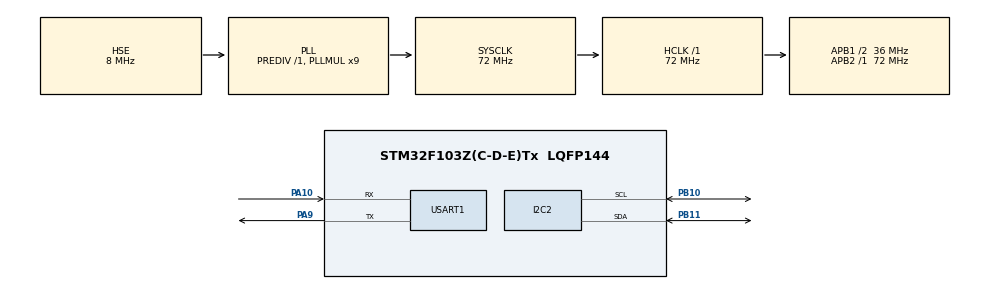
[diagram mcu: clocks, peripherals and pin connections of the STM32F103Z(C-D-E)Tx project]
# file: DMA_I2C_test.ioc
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Dma.I2C2_RX.0.Direction=DMA_PERIPH_TO_MEMORY
Dma.I2C2_RX.0.Instance=DMA1_Channel5
Dma.I2C2_RX.0.MemDataAlignment=DMA_MDATAALIGN_BYTE
Dma.I2C2_RX.0.MemInc=DMA_MINC_ENABLE
Dma.I2C2_RX.0.Mode=DMA_NORMAL
Dma.I2C2_RX.0.PeriphDataAlignment=DMA_PDATAALIGN_BYTE
Dma.I2C2_RX.0.PeriphInc=DMA_PINC_DISABLE
Dma.I2C2_RX.0.Priority=DMA_PRIORITY_LOW
Dma.I2C2_TX.1.Direction=DMA_MEMORY_TO_PERIPH
Dma.I2C2_TX.1.Instance=DMA1_Channel4
Dma.I2C2_TX.1.MemDataAlignment=DMA_MDATAALIGN_BYTE
Dma.I2C2_TX.1.MemInc=DMA_MINC_ENABLE
Dma.I2C2_TX.1.Mode=DMA_NORMAL
Dma.I2C2_TX.1.PeriphDataAlignment=DMA_PDATAALIGN_BYTE
Dma.I2C2_TX.1.PeriphInc=DMA_PINC_DISABLE
Dma.I2C2_TX.1.Priority=DMA_PRIORITY_LOW
Dma.Request0=I2C2_RX
Dma.Request1=I2C2_TX
I2C2.I2C_Mode=I2C_Fast
Mcu.Family=STM32F1
Mcu.Name=STM32F103Z(C-D-E)Tx
Mcu.Package=LQFP144
NVIC.DMA1_Channel4_IRQn=true\:0\:0\:false\:false\:true\:false\:true\:true
NVIC.DMA1_Channel5_IRQn=true\:0\:0\:false\:false\:true\:false\:true\:true
NVIC.I2C2_ER_IRQn=true\:0\:0\:false\:false\:true\:true\:true\:true
NVIC.I2C2_EV_IRQn=true\:0\:0\:false\:false\:true\:true\:true\:true
NVIC.PriorityGroup=NVIC_PRIORITYGROUP_4
OSC_IN.Mode=HSE-External-Oscillator
OSC_IN.Signal=RCC_OSC_IN
OSC_OUT.Mode=HSE-External-Oscillator
OSC_OUT.Signal=RCC_OSC_OUT
PA10.Mode=Asynchronous
PA10.Signal=USART1_RX
PA13.Mode=Serial_Wire
PA13.Signal=SYS_JTMS-SWDIO
PA14.Mode=Serial_Wire
PA14.Signal=SYS_JTCK-SWCLK
PA9.Mode=Asynchronous
PA9.Signal=USART1_TX
PB10.Mode=I2C
PB10.Signal=I2C2_SCL
PB11.Mode=I2C
PB11.Signal=I2C2_SDA
ProjectManager.HeapSize=0x200
ProjectManager.StackSize=0x400
ProjectManager.TargetToolchain=MDK-ARM V5.32
RCC.AHBFreq_Value=72000000
RCC.APB1CLKDivider=RCC_HCLK_DIV2
RCC.APB1Freq_Value=36000000
RCC.APB1TimFreq_Value=72000000
RCC.APB2Freq_Value=72000000
RCC.APB2TimFreq_Value=72000000
RCC.HCLKFreq_Value=72000000
RCC.PLLMUL=RCC_PLL_MUL9
RCC.PLLSourceVirtual=RCC_PLLSOURCE_HSE
RCC.SYSCLKFreq_VALUE=72000000
RCC.SYSCLKSource=RCC_SYSCLKSOURCE_PLLCLK
RCC.USBFreq_Value=72000000
USART1.Parity=PARITY_ODD
USART1.VirtualMode=VM_ASYNC
USART1.WordLength=WORDLENGTH_9B
board=custom

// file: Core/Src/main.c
/* USER CODE BEGIN Header */
/**
  ******************************************************************************
  * @file           : main.c
  * @brief          : Main program body
  ******************************************************************************
  * @attention
  *
  * Copyright (c) 2026 STMicroelectronics.
  * All rights reserved.
  *
  * This software is licensed under terms that can be found in the LICENSE file
  * in the root directory of this software component.
  * If no LICENSE file comes with this software, it is provided AS-IS.
  *
  ******************************************************************************
  */
/* USER CODE END Header */
#include "main.h"

/* USER CODE BEGIN Includes */
#include "BSP_Usart_Redir.h"
#include "BSP_AT24C02_DMA.h"
/* USER CODE END Includes */

I2C_HandleTypeDef hi2c2;
DMA_HandleTypeDef hdma_i2c2_rx;
DMA_HandleTypeDef hdma_i2c2_tx;

UART_HandleTypeDef huart1;

/* USER CODE BEGIN PV */
uint8_t tx_buffer[8] = {0xaa, 0xbb, 0xcc, 0xdd, 0x55, 0x66, 0x77, 0x88};
uint8_t rx_buffer[8] = {0};
/* USER CODE END PV */

void SystemClock_Config(void);
static void MX_GPIO_Init(void);
static void MX_DMA_Init(void);
static void MX_I2C2_Init(void);
static void MX_USART1_UART_Init(void);
/* USER CODE BEGIN PFP */
void EEPROM_WriteCallBack(bool result); // 写回调
void EEPROM_ReadCallBack(bool result); // 读回调
/* USER CODE END PFP */

int main(void)
{

  /* MCU Configuration--------------------------------------------------------*/

  /* Reset of all peripherals, Initializes the Flash interface and the Systick. */
  HAL_Init();

  /* Configure the system clock */
  SystemClock_Config();

  /* Initialize all configured peripherals */
  MX_GPIO_Init();
  MX_DMA_Init();
  MX_I2C2_Init();
  MX_USART1_UART_Init();
  /* USER CODE BEGIN 2 */
  BSP_Usart_Init(&huart1);
  printf("I2C DMA Test!\n");

  BSP_AT24C02_Init(&hi2c2);
  BSP_AT24C02_Write_Page_DMA(0x00, tx_buffer, 8, EEPROM_WriteCallBack); // 1. 通信 2. 数据被真的写入到AT24C02的页中，需要花时间
  // BSP_AT24C02_Read_Page_DMA(0x08, rx_buffer, 8, EEPROM_ReadCallBack);

  /* USER CODE END 2 */

  /* Infinite loop */
  /* USER CODE BEGIN WHILE */
  while (1)
  {
    if(BSP_AT24C02_WaitWrite_Process())
    {
      //BSP_AT24C02_Read_Page_DMA(0x00, rx_buffer, 8, EEPROM_ReadCallBack);
    }
    /* USER CODE END WHILE */

  }
}

void SystemClock_Config(void)
{
  RCC_OscInitTypeDef RCC_OscInitStruct = {0};
  RCC_ClkInitTypeDef RCC_ClkInitStruct = {0};

  /** Initializes the RCC Oscillators according to the specified parameters
  * in the RCC_OscInitTypeDef structure.
  */
  RCC_OscInitStruct.OscillatorType = RCC_OSCILLATORTYPE_HSE;
  RCC_OscInitStruct.HSEState = RCC_HSE_ON;
  RCC_OscInitStruct.HSEPredivValue = RCC_HSE_PREDIV_DIV1;
  RCC_OscInitStruct.HSIState = RCC_HSI_ON;
  RCC_OscInitStruct.PLL.PLLState = RCC_PLL_ON;
  RCC_OscInitStruct.PLL.PLLSource = RCC_PLLSOURCE_HSE;
  RCC_OscInitStruct.PLL.PLLMUL = RCC_PLL_MUL9;
  if (HAL_RCC_OscConfig(&RCC_OscInitStruct) != HAL_OK)
  {
    Error_Handler();
  }

  /** Initializes the CPU, AHB and APB buses clocks
  */
  RCC_ClkInitStruct.ClockType = RCC_CLOCKTYPE_HCLK|RCC_CLOCKTYPE_SYSCLK
                              |RCC_CLOCKTYPE_PCLK1|RCC_CLOCKTYPE_PCLK2;
  RCC_ClkInitStruct.SYSCLKSource = RCC_SYSCLKSOURCE_PLLCLK;
  RCC_ClkInitStruct.AHBCLKDivider = RCC_SYSCLK_DIV1;
  RCC_ClkInitStruct.APB1CLKDivider = RCC_HCLK_DIV2;
  RCC_ClkInitStruct.APB2CLKDivider = RCC_HCLK_DIV1;

  if (HAL_RCC_ClockConfig(&RCC_ClkInitStruct, FLASH_LATENCY_2) != HAL_OK)
  {
    Error_Handler();
  }
}

static void MX_I2C2_Init(void)
{

  hi2c2.Instance = I2C2;
  hi2c2.Init.ClockSpeed = 400000;
  hi2c2.Init.DutyCycle = I2C_DUTYCYCLE_2;
  hi2c2.Init.OwnAddress1 = 0;
  hi2c2.Init.AddressingMode = I2C_ADDRESSINGMODE_7BIT;
  hi2c2.Init.DualAddressMode = I2C_DUALADDRESS_DISABLE;
  hi2c2.Init.OwnAddress2 = 0;
  hi2c2.Init.GeneralCallMode = I2C_GENERALCALL_DISABLE;
  hi2c2.Init.NoStretchMode = I2C_NOSTRETCH_DISABLE;
  if (HAL_I2C_Init(&hi2c2) != HAL_OK)
  {
    Error_Handler();
  }

}

static void MX_USART1_UART_Init(void)
{

  huart1.Instance = USART1;
  huart1.Init.BaudRate = 115200;
  huart1.Init.WordLength = UART_WORDLENGTH_9B;
  huart1.Init.StopBits = UART_STOPBITS_1;
  huart1.Init.Parity = UART_PARITY_ODD;
  huart1.Init.Mode = UART_MODE_TX_RX;
  huart1.Init.HwFlowCtl = UART_HWCONTROL_NONE;
  huart1.Init.OverSampling = UART_OVERSAMPLING_16;
  if (HAL_UART_Init(&huart1) != HAL_OK)
  {
    Error_Handler();
  }

}

static void MX_DMA_Init(void)
{

  /* DMA controller clock enable */
  __HAL_RCC_DMA1_CLK_ENABLE();

  /* DMA interrupt init */
  /* DMA1_Channel4_IRQn interrupt configuration */
  HAL_NVIC_SetPriority(DMA1_Channel4_IRQn, 0, 0);
  HAL_NVIC_EnableIRQ(DMA1_Channel4_IRQn);
  /* DMA1_Channel5_IRQn interrupt configuration */
  HAL_NVIC_SetPriority(DMA1_Channel5_IRQn, 0, 0);
  HAL_NVIC_EnableIRQ(DMA1_Channel5_IRQn);

}

static void MX_GPIO_Init(void)
{

  /* GPIO Ports Clock Enable */
  __HAL_RCC_GPIOB_CLK_ENABLE();
  __HAL_RCC_GPIOA_CLK_ENABLE();

}

/* USER CODE BEGIN 4 */
void EEPROM_WriteCallBack(bool result)
{
  if(result)
  {
    printf(">>> 写入page数据成功!\n");
  }
  else
  {
    printf(">>> 写入page数据失败!\n");
  }
}

void EEPROM_ReadCallBack(bool result)
{
  if(result)
  {
    printf(">>> 读page数据成功, data: \n");
    for(int i = 0; i < 8; i++)
    {
      printf("0x%x ", rx_buffer[i]);
    }
    printf("\n");
  }
  else
  {
    printf(">>> 读page数据失败!\n");
  }
}

/* USER CODE END 4 */

void Error_Handler(void)
{
  __disable_irq();
  while (1)
  {
  }
}
